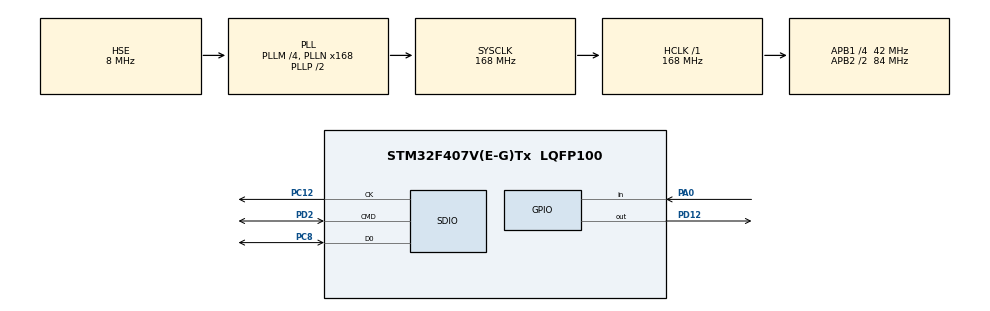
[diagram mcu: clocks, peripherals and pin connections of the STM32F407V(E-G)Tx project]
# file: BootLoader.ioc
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FATFS._USE_STRFUNC=1
Mcu.Family=STM32F4
Mcu.Name=STM32F407V(E-G)Tx
Mcu.Package=LQFP100
NVIC.PriorityGroup=NVIC_PRIORITYGROUP_4
PA0-WKUP.Signal=GPIO_Input
PA13.Mode=Serial-Wire
PA13.Signal=SYS_JTMS-SWDIO
PA14.Mode=Serial-Wire
PA14.Signal=SYS_JTCK-SWCLK
PC12.Mode=SD_1_bit
PC12.Signal=SDIO_CK
PC8.Mode=SD_1_bit
PC8.Signal=SDIO_D0
PD12.Signal=GPIO_Output
PD2.Mode=SD_1_bit
PD2.Signal=SDIO_CMD
PH0-OSC_IN.Mode=HSE-External-Oscillator
PH0-OSC_IN.Signal=RCC_OSC_IN
PH1-OSC_OUT.Mode=HSE-External-Oscillator
PH1-OSC_OUT.Signal=RCC_OSC_OUT
ProjectManager.HeapSize=0x2000
ProjectManager.StackSize=0x4000
ProjectManager.TargetToolchain=MDK-ARM V5
RCC.48MHZClocksFreq_Value=48000000
RCC.AHBFreq_Value=168000000
RCC.APB1CLKDivider=RCC_HCLK_DIV4
RCC.APB1Freq_Value=42000000
RCC.APB1TimFreq_Value=84000000
RCC.APB2CLKDivider=RCC_HCLK_DIV2
RCC.APB2Freq_Value=84000000
RCC.APB2TimCLKDivider=1
RCC.APB2TimFreq_Value=84000000
RCC.CortexFreq_Value=168000000
RCC.HCLKFreq_Value=168000000
RCC.HSE_VALUE=8000000
RCC.HSI_VALUE=16000000
RCC.LSE_VALUE=32768
RCC.PLLM=4
RCC.PLLN=168
RCC.PLLQ=7
RCC.PLLSourceVirtual=RCC_PLLSOURCE_HSE
RCC.SYSCLKFreq_VALUE=168000000
RCC.SYSCLKSource=RCC_SYSCLKSOURCE_PLLCLK
RCC.VCOOutputFreq_Value=336000000
SDIO.BusWide=SDIO_BUS_WIDE_1B
VP_FATFS_VS_SDIO.Mode=SDIO
board=BootLoader

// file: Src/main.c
#include "stm32f4xx_hal.h"
#include "fatfs.h"

/* USER CODE BEGIN Includes */
#include "boot.h"
#include "math.h"

#define MAX_NUMBER_OF_LINE 46
#define MAX_NUMBER_OF_DATA 32
#define USER_SECTOR 2
/* USER CODE END Includes */

SD_HandleTypeDef hsd;
HAL_SD_CardInfoTypedef SDCardInfo;

/* USER CODE BEGIN PV */
/* Private variables ---------------------------------------------------------*/
FATFS fatfs;
FIL myFile, newFile;
FRESULT fresult;
char fileName[] = "BlinkLed.hex";
char fileTxt[] = "BlinkLed.txt";
char member_of_line[MAX_NUMBER_OF_LINE] = {0}; //a line of hex file when it is read, create a array

volatile int NbrOfData = 0;	//number of datas on a line = 2 * byte count
volatile int countLine = 0, NbrOfLine = 0;	//count number of lines in hex file
volatile uint32_t userAdd = APP_ADDRESS;

typedef struct HexStruct	//a hex format on a line in file .hex
{
	__IO uint8_t byteCount;//1byte
	__IO uint16_t addRess;	//2byte address
	__IO uint8_t recordType; //1byte
	__IO uint32_t u32data[4];	//4*4 = 16byte
	__IO uint8_t checkSum; //1byte
}HexTypeDef;

//volatile HexTypeDef *aHex;	//pointer constants hex lines
volatile HexTypeDef aHex[200];
/* USER CODE END PV */

void SystemClock_Config(void);
static void MX_GPIO_Init(void);
static void MX_SDIO_SD_Init(void);

/* USER CODE BEGIN PFP */
/* Private function prototypes -----------------------------------------------*/

/* USER CODE END PFP */

/* USER CODE BEGIN 0 */
uint8_t Hex2Int(char c)
{
	switch(c)
	{
		case '0':	return 0;
		case '1': return 1;
		case '2':	return 2;
		case '3': return 3;
		case '4':	return 4;
		case '5': return 5;
		case '6':	return 6;
		case '7': return 7;
		case '8':	return 8;
		case '9': return 9;
		case 'A':	return 10;
		case 'B': return 11;
		case 'C':	return 12;
		case 'D': return 13;
		case 'E':	return 14;
		case 'F': return 15;
	}
	return 0;
}
/*This function will process hex file and output a text file*/
void ProcessHex(void)
{
//	aHex = malloc(200 * sizeof(HexTypeDef));
	if(BSP_SD_Init() == MSD_OK)//init SD succes
	{

		fresult = f_mount(&fatfs, "", 1);

		fresult = f_open(&myFile, fileName, FA_READ);//delete old txt file

		while(!f_eof(&myFile))	//if not end of file hex
		{
			 f_gets(member_of_line, MAX_NUMBER_OF_LINE*sizeof(char), &myFile);

//			character 0 is ':', ignore
//			character 1,2 are byte count
//			charecter 3,4,5,6 are address
//			charecter 7,8 are record type
//			2 last charecters are check sum
//			the rest is data

			//convert byte count, address, record type, check sum  => to DEC
			aHex[countLine].byteCount = Hex2Int(member_of_line[1]) * 16 + Hex2Int(member_of_line[2]);
			aHex[countLine].addRess = Hex2Int(member_of_line[3]) * pow(16,3) + Hex2Int(member_of_line[4])*pow(16,2)
																+ Hex2Int(member_of_line[5]) * pow(16,1) + Hex2Int(member_of_line[6]);
			aHex[countLine].recordType = Hex2Int(member_of_line[7]) * 16 + Hex2Int(member_of_line[8]);
			NbrOfData = 2 * aHex[countLine].byteCount;

			aHex[countLine].checkSum = Hex2Int(member_of_line[9+NbrOfData]) * 16 + Hex2Int(member_of_line[10+NbrOfData]);

			if(NbrOfData > 0)
			{
				char temp_data[MAX_NUMBER_OF_DATA] = {0};
				for(uint8_t i = 0; i < NbrOfData; i++)
				{
					//data from 9,10...,41 on a line
					temp_data[i] = Hex2Int(member_of_line[9+i]);
				}

				//convert data => u32bit, eg: 0,1,2,3,4,5,6,7 => 67452301
				for(uint8_t i = 0; i < 4; i++)
				{
					aHex[countLine].u32data[i] = 0;
					aHex[countLine].u32data[i] = ((temp_data[8*i+0] << 4) | temp_data[8*i+1]) << 0;
					aHex[countLine].u32data[i] |= ((temp_data[8*i+2] << 4) | temp_data[8*i+3]) << 8;
					aHex[countLine].u32data[i] |= ((temp_data[8*i+4] << 4) | temp_data[8*i+5]) << 16;
					aHex[countLine].u32data[i] |= ((temp_data[8*i+6] << 4) | temp_data[8*i+7]) << 24;
				}

			}
			countLine++;
		}
		f_close(&myFile);
		//create text file in SD card
		fresult = f_open(&newFile, fileTxt, FA_CREATE_ALWAYS | FA_WRITE);
		for(int i = 0; i < countLine; i++)
		{
			if(aHex[i].recordType == 0x00)	//if is data to flash
			{
				f_printf(&newFile, "0x%x, 0x%x, 0x%x, 0x%x ", aHex[i].u32data[0],aHex[i].u32data[1],
																										aHex[i].u32data[2],aHex[i].u32data[3]);
			}
		}
	}
}
void Flash_Write(void)
{

	HAL_FLASH_Unlock();
	__HAL_FLASH_CLEAR_FLAG(FLASH_FLAG_EOP | FLASH_FLAG_OPERR | FLASH_FLAG_WRPERR |
							FLASH_FLAG_PGAERR | FLASH_FLAG_PGPERR|FLASH_FLAG_PGSERR);
	//erase sector of app
	FLASH_Erase_Sector(USER_SECTOR, FLASH_VOLTAGE_RANGE_3);

	//NbrOfLine = countLine;
	//write data into flash
	for(int i = 0; i < countLine; i++)
	{
		if(aHex[i].recordType == 0x00)	//if is data to flash
		{
			for(uint8_t j = 0; j < 4; j++)
			{
				HAL_FLASH_Program(FLASH_TYPEPROGRAM_WORD, userAdd, aHex[i].u32data[j]);
				userAdd += 4;
			}
		}
	}
	HAL_FLASH_Lock();
}

void Boot(void)
{
  HAL_RCC_DeInit();
	HAL_DeInit();
	SysTick->CTRL = 0;
	SysTick->LOAD = 0;

	/* Clear Pending Interrupt Request, turn  off System Tick*/
	SCB->SHCSR &= ~( SCB_SHCSR_USGFAULTENA_Msk |\
									SCB_SHCSR_BUSFAULTENA_Msk |\
									SCB_SHCSR_MEMFAULTENA_Msk ) ;

	__disable_irq ();

	/* Set Main Stack Pointer*/
	__set_MSP(*((volatile uint32_t*) APP_ADDRESS));
	/* Set Program Counter to Blink LED Apptication Address*/
	void (*jump)(void) =  (void(*)(void)) (*((volatile uint32_t *) (APP_ADDRESS + 4)));
  jump();
	//HAL_GPIO_TogglePin(GPIOD, GPIO_PIN_12);
	while(1);

}
/* USER CODE END 0 */

int main(void)
{

  /* MCU Configuration----------------------------------------------------------*/

  /* Reset of all peripherals, Initializes the Flash interface and the Systick. */
  HAL_Init();

  /* Configure the system clock */
  SystemClock_Config();

  /* Initialize all configured peripherals */
  MX_GPIO_Init();
  MX_SDIO_SD_Init();
  MX_FATFS_Init();

  /* USER CODE BEGIN 2 */
	//	Process hex file from SDcard
	ProcessHex();
	//	Write data into flash
	Flash_Write();
	//BootLoader main
	Boot();

  /* USER CODE END 2 */

  /* Infinite loop */
  while (1)
  {

  }

}

/** System Clock Configuration
*/
void SystemClock_Config(void)
{

  RCC_OscInitTypeDef RCC_OscInitStruct;
  RCC_ClkInitTypeDef RCC_ClkInitStruct;

  __HAL_RCC_PWR_CLK_ENABLE();

  __HAL_PWR_VOLTAGESCALING_CONFIG(PWR_REGULATOR_VOLTAGE_SCALE1);

  RCC_OscInitStruct.OscillatorType = RCC_OSCILLATORTYPE_HSE;
  RCC_OscInitStruct.HSEState = RCC_HSE_ON;
  RCC_OscInitStruct.PLL.PLLState = RCC_PLL_ON;
  RCC_OscInitStruct.PLL.PLLSource = RCC_PLLSOURCE_HSE;
  RCC_OscInitStruct.PLL.PLLM = 4;
  RCC_OscInitStruct.PLL.PLLN = 168;
  RCC_OscInitStruct.PLL.PLLP = RCC_PLLP_DIV2;
  RCC_OscInitStruct.PLL.PLLQ = 7;
  HAL_RCC_OscConfig(&RCC_OscInitStruct);

  RCC_ClkInitStruct.ClockType = RCC_CLOCKTYPE_HCLK|RCC_CLOCKTYPE_SYSCLK
                              |RCC_CLOCKTYPE_PCLK1|RCC_CLOCKTYPE_PCLK2;
  RCC_ClkInitStruct.SYSCLKSource = RCC_SYSCLKSOURCE_PLLCLK;
  RCC_ClkInitStruct.AHBCLKDivider = RCC_SYSCLK_DIV1;
  RCC_ClkInitStruct.APB1CLKDivider = RCC_HCLK_DIV4;
  RCC_ClkInitStruct.APB2CLKDivider = RCC_HCLK_DIV2;
  HAL_RCC_ClockConfig(&RCC_ClkInitStruct, FLASH_LATENCY_5);

  HAL_SYSTICK_Config(HAL_RCC_GetHCLKFreq()/1000);

  HAL_SYSTICK_CLKSourceConfig(SYSTICK_CLKSOURCE_HCLK);

  /* SysTick_IRQn interrupt configuration */
  HAL_NVIC_SetPriority(SysTick_IRQn, 0, 0);
}

/* SDIO init function */
void MX_SDIO_SD_Init(void)
{

  hsd.Instance = SDIO;
  hsd.Init.ClockEdge = SDIO_CLOCK_EDGE_RISING;
  hsd.Init.ClockBypass = SDIO_CLOCK_BYPASS_DISABLE;
  hsd.Init.ClockPowerSave = SDIO_CLOCK_POWER_SAVE_DISABLE;
  hsd.Init.BusWide = SDIO_BUS_WIDE_1B;
  hsd.Init.HardwareFlowControl = SDIO_HARDWARE_FLOW_CONTROL_DISABLE;
  hsd.Init.ClockDiv = 0;

}

/** Configure pins as
        * Analog
        * Input
        * Output
        * EVENT_OUT
        * EXTI
*/
void MX_GPIO_Init(void)
{

  GPIO_InitTypeDef GPIO_InitStruct;

  /* GPIO Ports Clock Enable */
  __HAL_RCC_GPIOH_CLK_ENABLE();
  __HAL_RCC_GPIOA_CLK_ENABLE();
  __HAL_RCC_GPIOD_CLK_ENABLE();
  __HAL_RCC_GPIOC_CLK_ENABLE();

  /*Configure GPIO pin : PA0 */
  GPIO_InitStruct.Pin = GPIO_PIN_0;
  GPIO_InitStruct.Mode = GPIO_MODE_INPUT;
  GPIO_InitStruct.Pull = GPIO_NOPULL;
  HAL_GPIO_Init(GPIOA, &GPIO_InitStruct);

  /*Configure GPIO pin : PD12 */
  GPIO_InitStruct.Pin = GPIO_PIN_12;
  GPIO_InitStruct.Mode = GPIO_MODE_OUTPUT_PP;
  GPIO_InitStruct.Pull = GPIO_NOPULL;
  GPIO_InitStruct.Speed = GPIO_SPEED_FREQ_LOW;
  HAL_GPIO_Init(GPIOD, &GPIO_InitStruct);

  /*Configure GPIO pin Output Level */
  HAL_GPIO_WritePin(GPIOD, GPIO_PIN_12, GPIO_PIN_RESET);

}

/************************ (C) COPYRIGHT STMicroelectronics *****END OF FILE****/
